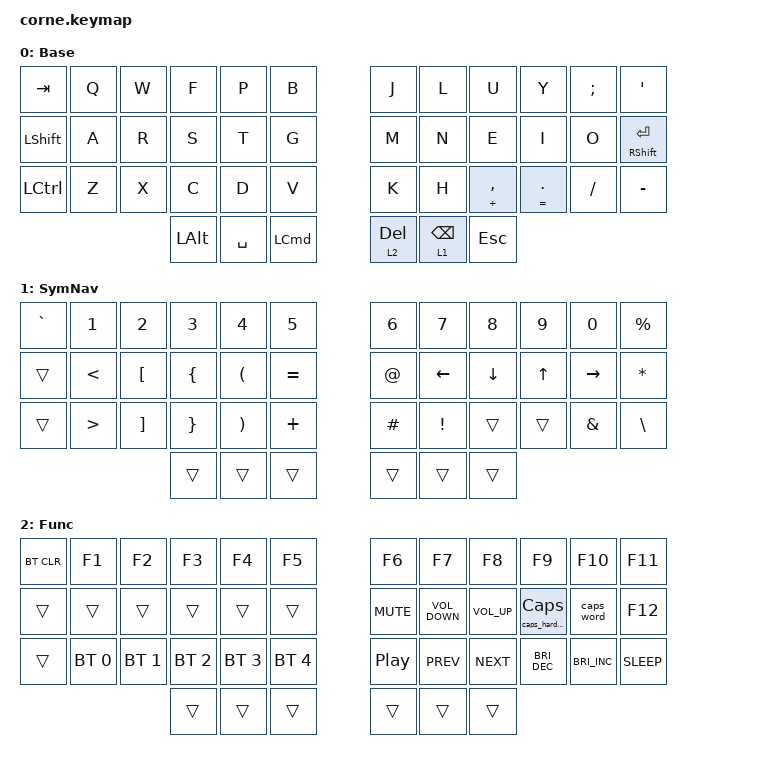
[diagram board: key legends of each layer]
/*
 * Copyright (c) 2020 The ZMK Contributors
 *
 * SPDX-License-Identifier: MIT
 */

#include <behaviors.dtsi>
#include <dt-bindings/zmk/bt.h>
#include <dt-bindings/zmk/keys.h>

/ {
    behaviors {
        newlayer_tap: newlayer_tap {
            compatible = "zmk,behavior-hold-tap";
            label = "NEWLAYER_TAP";
            bindings = <&mo>, <&kp>;

            #binding-cells = <2>;
            tapping-term-ms = <145>;
            quick-tap-ms = <290>;
        };

        cadet_hold_tap: cadet_hold_tap {
            compatible = "zmk,behavior-hold-tap";
            label = "CADET_HOLD_TAP";
            bindings = <&kp>, <&kp>;

            #binding-cells = <2>;
            tapping-term-ms = <145>;
            quick-tap-ms = <290>;
        };

        caps_hard_press: caps_hard_press {
            compatible = "zmk,behavior-sticky-key";
            label = "CAPS_HARD_PRESS";
            bindings = <&kp>;
            #binding-cells = <1>;
            release-after-ms = <200>;
            quick-release;
            ignore-modifiers;
        };

        hold_keypress: hold_keypress {
            compatible = "zmk,behavior-hold-tap";
            label = "HOLD_KEYPRESS";
            bindings = <&kp>, <&kp>;

            #binding-cells = <2>;
            tapping-term-ms = <180>;
            flavor = "balanced";
        };
    };

    keymap {
        compatible = "zmk,keymap";

        default_layer {
            // -----------------------------------------------------------------------------------------
            // |  TAB |  Q  |  W  |  E  |  R  |  T  |   |  Y  |  U   |  I  |  O  |  P  | BKSP |
            // | CTRL |  A  |  S  |  D  |  F  |  G  |   |  H  |  J   |  K  |  L  |  ;  |  '   |
            // | SHFT |  Z  |  X  |  C  |  V  |  B  |   |  N  |  M   |  ,  |  .  |  /  | ESC  |
            //                    | GUI | LWR | SPC |   | ENT | RSE  | ALT |

            label = "Base";
            bindings = <
&kp TAB         &kp Q  &kp W  &kp F         &kp P      &kp B               &kp J                   &kp L                      &kp U                      &kp Y                        &kp SEMICOLON  &kp SQT
&kp LEFT_SHIFT  &kp A  &kp R  &kp S         &kp T      &kp G               &kp M                   &kp N                      &kp E                      &kp I                        &kp O          &cadet_hold_tap RIGHT_SHIFT ENTER
&kp LCTRL       &kp Z  &kp X  &kp C         &kp D      &kp V               &kp K                   &kp H                      &hold_keypress PLUS COMMA  &hold_keypress EQUAL PERIOD  &kp FSLH       &kp MINUS
                              &kp LEFT_ALT  &kp SPACE  &kp LEFT_COMMAND    &newlayer_tap 2 DELETE  &newlayer_tap 1 BACKSPACE  &kp ESCAPE
            >;
        };

        raise_layer {
            // -----------------------------------------------------------------------------------------
            // |  TAB |  !  |  @  |  #  |  $  |  %  |   |  ^  |  &  |  *  |  (  |  )  | BKSP |
            // | CTRL |     |     |     |     |     |   |  -  |  =  |  [  |  ]  |  \  |  `   |
            // | SHFT |     |     |     |     |     |   |  _  |  +  |  {  |  }  | "|" |  ~   |
            //                    | GUI |     | SPC |   | ENT |     | ALT |

            label = "SymNav";
            bindings = <
&kp GRAVE  &kp NUMBER_1      &kp NUMBER_2       &kp NUMBER_3     &kp NUMBER_4           &kp N5       &kp NUMBER_6  &kp N7    &kp N8    &kp N9  &kp N0     &kp PERCENT
&trans     &kp LESS_THAN     &kp LEFT_BRACKET   &kp LEFT_BRACE   &kp LEFT_PARENTHESIS   &kp EQUAL    &kp AT        &kp LEFT  &kp DOWN  &kp UP  &kp RIGHT  &kp ASTERISK
&trans     &kp GREATER_THAN  &kp RIGHT_BRACKET  &kp RIGHT_BRACE  &kp RIGHT_PARENTHESIS  &kp PLUS     &kp HASH      &kp EXCL  &trans    &trans  &kp AMPS   &kp BACKSLASH
                                                &trans           &trans                 &trans       &trans        &trans    &trans
            >;
        };

        adjust_layer {
            bindings = <
&bt BT_CLR  &kp F1        &kp F2        &kp F3        &kp F4        &kp F5          &kp F6            &kp F7             &kp F8           &kp F9                     &kp F10               &kp F11
&trans      &trans        &trans        &trans        &trans        &trans          &kp C_MUTE        &kp C_VOLUME_DOWN  &kp C_VOLUME_UP  &caps_hard_press CAPSLOCK  &caps_word            &kp F12
&trans      &bt BT_SEL 0  &bt BT_SEL 1  &bt BT_SEL 2  &bt BT_SEL 3  &bt BT_SEL 4    &kp C_PLAY_PAUSE  &kp C_PREV         &kp C_NEXT       &kp C_BRIGHTNESS_DEC       &kp C_BRIGHTNESS_INC  &kp C_SLEEP
                                        &trans        &trans        &trans          &trans            &trans             &trans
            >;

            label = "Func";
        };
    };
};
